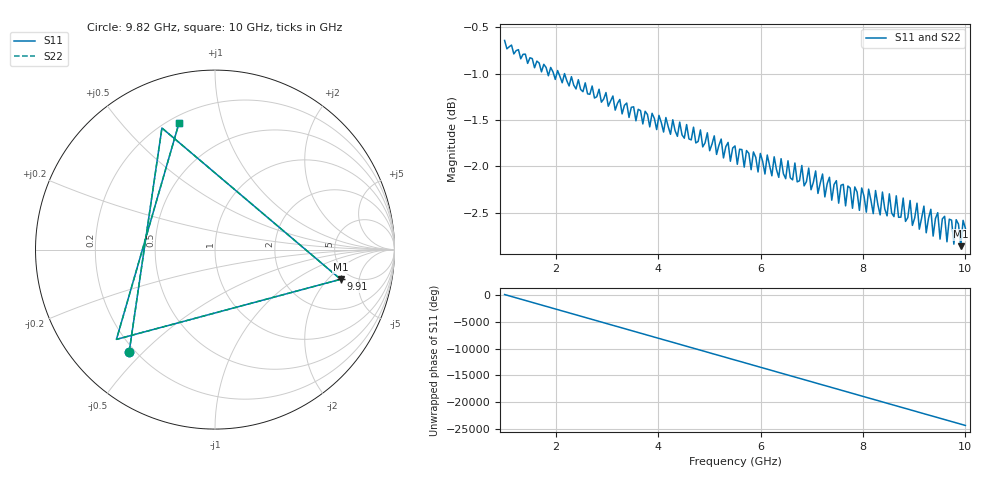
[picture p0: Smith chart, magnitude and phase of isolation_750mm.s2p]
# HZ S RI R 50
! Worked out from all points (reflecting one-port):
!   201 points, 1 GHz to 10 GHz, reference 50 ohm
!   lowest |S11| = -2.9 dB at 9.91 GHz (marker M1), VSWR 6.12, Z = 206 - j141 ohm
!   phase of S11 starts at 156 deg and turns -24530 deg over the sweep
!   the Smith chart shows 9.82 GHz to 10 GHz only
!   S11 on the Smith chart (normalised r, x): 9.82 GHz: 0.18, -0.45; 9.91 GHz: 4.11, -2.82; 10 GHz: 0.24, +0.73
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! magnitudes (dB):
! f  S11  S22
! 1 GHz  -0.6  -0.6
! 2.53 GHz  -1.2  -1.2
! 4.015 GHz  -1.5  -1.5
! 5.5 GHz  -1.8  -1.8
! 7.03 GHz  -2.2  -2.2
! 8.245 GHz  -2.3  -2.3
! 8.335 GHz  -2.5  -2.5
! 8.515 GHz  -2.3  -2.3
! 8.965 GHz  -2.6  -2.6
! 9.055 GHz  -2.4  -2.4
! 9.1 GHz  -2.7  -2.7
! 9.19 GHz  -2.4  -2.4
! 9.235 GHz  -2.7  -2.7
! 9.325 GHz  -2.5  -2.5
! 9.37 GHz  -2.8  -2.8
! 9.46 GHz  -2.5  -2.5
! 9.505 GHz  -2.8  -2.8
! 9.595 GHz  -2.5  -2.5
! 9.64 GHz  -2.8  -2.8
! 9.82 GHz  -2.6  -2.6
! 9.91 GHz  -2.9  -2.9
! 10 GHz  -2.7  -2.7
